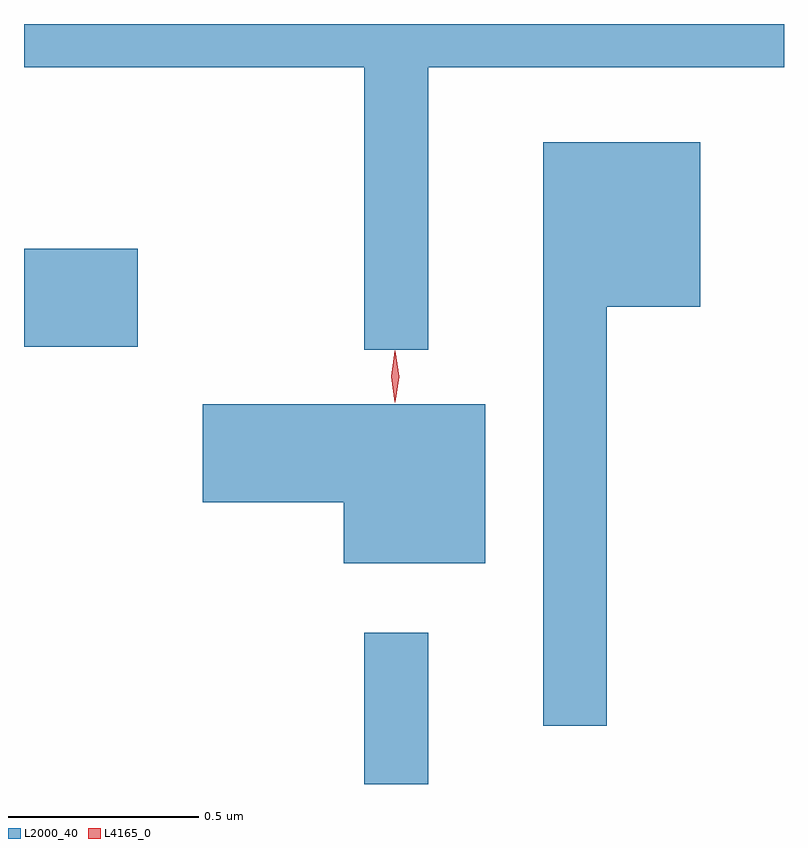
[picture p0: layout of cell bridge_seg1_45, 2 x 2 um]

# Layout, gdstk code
import gdstk
lib = gdstk.Library(unit=1e-6, precision=1e-09)
def R(c, l, rs):  # rectangles x0, y0, x1, y1
    for r in rs: c.add(gdstk.rectangle(r[:2], r[2:], *l))
def P(c, l, *ps):  # polygons
    for p in ps: c.add(gdstk.Polygon(p, *l))
L2000_40 = (2000, 40)
L4165_0 = (4165, 0)

bridge_seg1_45 = lib.new_cell('bridge_seg1_45')
R(bridge_seg1_45, L2000_40, [(1908.101,842.19,1908.269,842.588), (1907.205,843.341,1907.504,843.599)])
P(bridge_seg1_45, L2000_40, [(1908.269,844.076),(1909.205,844.076),(1909.205,844.19),(1907.205,844.19),(1907.205,844.076),(1908.101,844.076),(1908.101,843.333),(1908.269,843.333)],
  [(1908.739,843.446),(1908.984,843.446),(1908.984,843.879),(1908.571,843.879),(1908.571,842.343),(1908.739,842.343)],
  [(1908.419,843.189),(1907.676,843.189),(1907.676,842.931),(1908.046,842.931),(1908.046,842.771),(1908.419,842.771)])
P(bridge_seg1_45, L4165_0, [(1908.181,843.194),(1908.172,843.262),(1908.181,843.33),(1908.182,843.33),(1908.182,843.33),(1908.192,843.262),(1908.182,843.194),(1908.182,843.194)],
  [(1908.182,843.2),(1908.181,843.201),(1908.172,843.263),(1908.181,843.326),(1908.182,843.327),(1908.182,843.326),(1908.192,843.263),(1908.182,843.201)])

lib.write_gds('bridge_seg1_45.gds')
